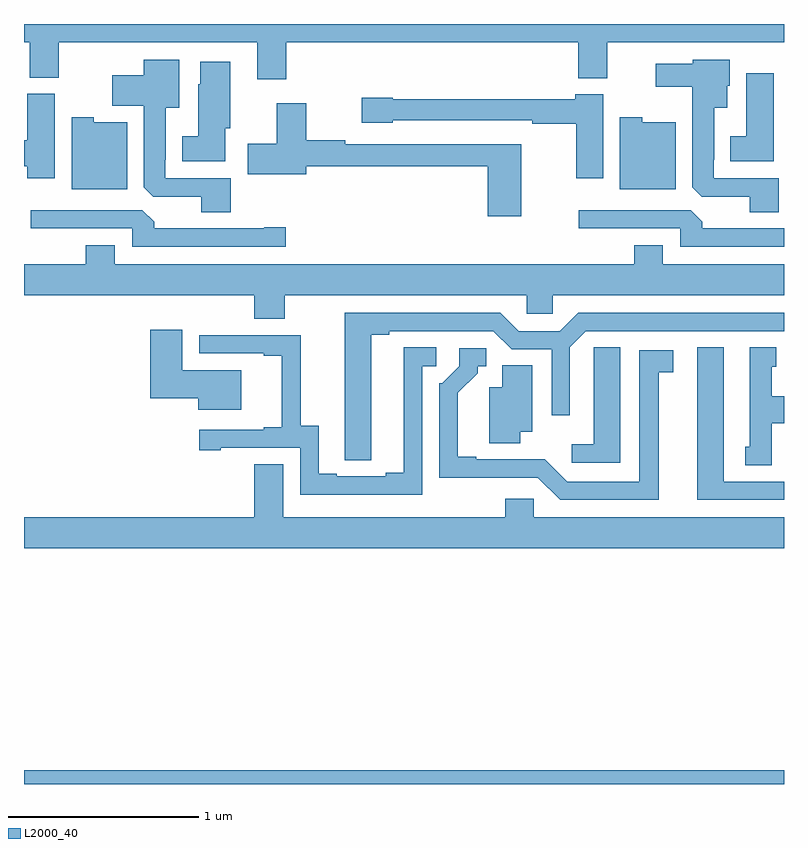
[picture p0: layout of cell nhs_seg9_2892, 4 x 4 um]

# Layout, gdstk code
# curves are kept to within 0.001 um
import gdstk
lib = gdstk.Library(unit=1e-6, precision=1e-09)
def R(c, l, rs):  # rectangles x0, y0, x1, y1
    for r in rs: c.add(gdstk.rectangle(r[:2], r[2:], *l))
def P(c, l, *ps):  # polygons
    for p in ps: c.add(gdstk.Polygon(p, *l))
L2000_40 = (2000, 40)

nhs_seg9_2892 = lib.new_cell('nhs_seg9_2892')
R(nhs_seg9_2892, L2000_40, [(277,1208.5,281,1208.572)])
P(nhs_seg9_2892, L2000_40, [(278.381,1212.404),(279.917,1212.404),(279.917,1212.215),(280.069,1212.215),(280.069,1212.404),(281,1212.404),(281,1212.5),(277,1212.5),(277,1212.404),(277.031,1212.404),(277.031,1212.217),(277.183,1212.217),(277.183,1212.404),(278.228,1212.404),(278.228,1212.21),(278.381,1212.21)],
  [(278.087,1211.688),(277.743,1211.688),(277.743,1211.785),(277.747,1211.785),(277.747,1212.059),(277.816,1212.059),(277.816,1212.313),(277.631,1212.313),(277.631,1212.229),(277.464,1212.229),(277.464,1212.071),(277.631,1212.071),(277.631,1211.641),(277.68,1211.592),(277.934,1211.592),(277.934,1211.509),(278.087,1211.509)],
  [(280.973,1211.688),(280.629,1211.688),(280.629,1211.785),(280.633,1211.785),(280.633,1212.059),(280.702,1212.059),(280.702,1212.174),(280.714,1212.174),(280.714,1212.313),(280.521,1212.313),(280.521,1212.292),(280.326,1212.292),(280.326,1212.17),(280.517,1212.17),(280.517,1211.641),(280.566,1211.592),(280.82,1211.592),(280.82,1211.509),(280.973,1211.509)],
  [(278.059,1211.952),(278.086,1211.952),(278.086,1212.301),(277.928,1212.301),(277.928,1212.183),(277.916,1212.183),(277.916,1211.908),(277.832,1211.908),(277.832,1211.777),(278.059,1211.777)],
  [(280.945,1212.241),(280.802,1212.241),(280.802,1211.908),(280.718,1211.908),(280.718,1211.777),(280.945,1211.777)],
  [(277.162,1212.132),(277.016,1212.132),(277.016,1211.888),(277,1211.888),(277,1211.752),(277.016,1211.752),(277.016,1211.688),(277.162,1211.688)],
  [(280.048,1212.13),(279.902,1212.13),(279.902,1212.103),(278.94,1212.103),(278.94,1212.111),(278.778,1212.111),(278.778,1211.981),(278.94,1211.981),(278.94,1211.994),(279.676,1211.994),(279.676,1211.974),(279.907,1211.974),(279.907,1211.688),(280.048,1211.688)],
  [(279.618,1211.868),(278.69,1211.868),(278.69,1211.888),(278.485,1211.888),(278.485,1212.082),(278.33,1212.082),(278.33,1211.871),(278.178,1211.871),(278.178,1211.708),(278.485,1211.708),(278.485,1211.752),(279.44,1211.752),(279.44,1211.487),(279.618,1211.487)],
  [(280.429,1211.983),(280.254,1211.983),(280.254,1212.01),(280.136,1212.01),(280.136,1211.63),(280.429,1211.63)],
  [(277.543,1211.983),(277.368,1211.983),(277.368,1212.01),(277.25,1212.01),(277.25,1211.63),(277.543,1211.63)],
  [(278.377,1211.429),(278.264,1211.429),(278.264,1211.424),(277.685,1211.424),(277.685,1211.458),(277.623,1211.52),(277.035,1211.52),(277.035,1211.424),(277.569,1211.424),(277.569,1211.328),(278.377,1211.328)],
  [(281,1211.424),(280.571,1211.424),(280.571,1211.458),(280.509,1211.52),(279.921,1211.52),(279.921,1211.424),(280.455,1211.424),(280.455,1211.328),(281,1211.328)],
  [(278.373,1211.072),(279.645,1211.072),(279.645,1210.974),(279.783,1210.974),(279.783,1211.072),(281,1211.072),(281,1211.236),(280.363,1211.236),(280.363,1211.335),(280.211,1211.335),(280.211,1211.236),(277.477,1211.236),(277.477,1211.335),(277.325,1211.335),(277.325,1211.236),(277,1211.236),(277,1211.072),(278.213,1211.072),(278.213,1210.948),(278.373,1210.948)],
  [(278.827,1210.864),(278.923,1210.864),(278.923,1210.884),(279.471,1210.884),(279.567,1210.788),(279.777,1210.788),(279.777,1210.44),(279.873,1210.44),(279.873,1210.8),(279.957,1210.884),(281,1210.884),(281,1210.98),(279.917,1210.98),(279.821,1210.884),(279.603,1210.884),(279.507,1210.98),(278.687,1210.98),(278.688,1210.204),(278.827,1210.204)],
  [(278.143,1210.678),(277.834,1210.678),(277.834,1210.891),(277.664,1210.891),(277.664,1210.529),(277.916,1210.529),(277.916,1210.469),(278.143,1210.469)],
  [(279.096,1210.698),(279.169,1210.698),(279.169,1210.799),(278.999,1210.799),(278.999,1210.139),(278.903,1210.139),(278.903,1210.119),(278.647,1210.119),(278.647,1210.134),(278.551,1210.134),(278.551,1210.385),(278.457,1210.385),(278.457,1210.863),(277.923,1210.863),(277.923,1210.767),(278.261,1210.767),(278.261,1210.755),(278.357,1210.755),(278.357,1210.378),(278.261,1210.378),(278.261,1210.365),(277.923,1210.365),(277.923,1210.257),(278.035,1210.257),(278.035,1210.269),(278.454,1210.269),(278.454,1210.023),(279.096,1210.023)],
  [(280.138,1210.799),(279.999,1210.799),(279.999,1210.691),(279.998,1210.691),(279.998,1210.288),(279.882,1210.288),(279.882,1210.191),(280.138,1210.191)],
  [(280.936,1210.4),(281,1210.4),(281,1210.54),(280.936,1210.54),(280.936,1210.695),(280.96,1210.695),(280.96,1210.798),(280.82,1210.798),(280.82,1210.275),(280.796,1210.275),(280.796,1210.177),(280.936,1210.177)],
  [(281,1210.092),(280.684,1210.092),(280.684,1210.798),(280.544,1210.798),(280.544,1209.996),(281,1209.996)],
  [(280.342,1210.666),(280.417,1210.666),(280.417,1210.782),(280.238,1210.782),(280.238,1210.092),(279.858,1210.092),(279.74,1210.21),(279.379,1210.209),(279.379,1210.222),(279.283,1210.222),(279.283,1210.558),(279.388,1210.663),(279.388,1210.698),(279.433,1210.698),(279.433,1210.794),(279.291,1210.794),(279.291,1210.698),(279.201,1210.608),(279.186,1210.608),(279.186,1210.112),(279.705,1210.113),(279.822,1209.996),(280.342,1209.996)],
  [(279.613,1210.355),(279.676,1210.355),(279.676,1210.703),(279.518,1210.703),(279.518,1210.588),(279.449,1210.588),(279.449,1210.294),(279.613,1210.294)],
  [(281,1209.904),(279.684,1209.904),(279.684,1210.002),(279.533,1210.002),(279.533,1209.904),(278.365,1209.904),(278.365,1210.184),(278.213,1210.184),(278.213,1209.904),(277,1209.904),(277,1209.74),(281,1209.74)])

lib.write_gds('nhs_seg9_2892.gds')
